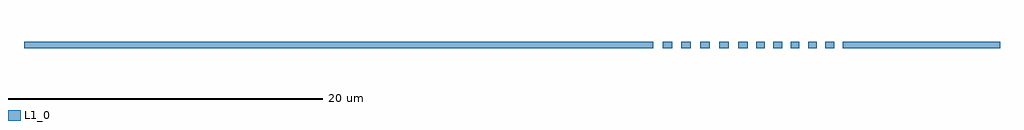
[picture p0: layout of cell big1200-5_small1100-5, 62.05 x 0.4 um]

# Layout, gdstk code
import gdstk
lib = gdstk.Library(unit=1e-6, precision=1e-09)
def R(c, l, rs):  # rectangles x0, y0, x1, y1
    for r in rs: c.add(gdstk.rectangle(r[:2], r[2:], *l))
def A(c, l, x, y, w, h, nx, ny, dx, dy):  # array of equal rectangles
    R(c, l, [(x+i*dx, y+j*dy, x+i*dx+w, y+j*dy+h) for i in range(nx) for j in range(ny)])
L1_0 = (1, 0)

big1200_5_small1100_5 = lib.new_cell('big1200-5_small1100-5')
A(big1200_5_small1100_5, L1_0, 0.6, 0, 0.6, 0.4, 5, 1, 1.2, 0)
A(big1200_5_small1100_5, L1_0, 6.55, 0, 0.55, 0.4, 5, 1, 1.1, 0)
R(big1200_5_small1100_5, L1_0, [(-40,0,0,0.4), (12.05,0,22.05,0.4)])

lib.write_gds('big1200-5_small1100-5.gds')
